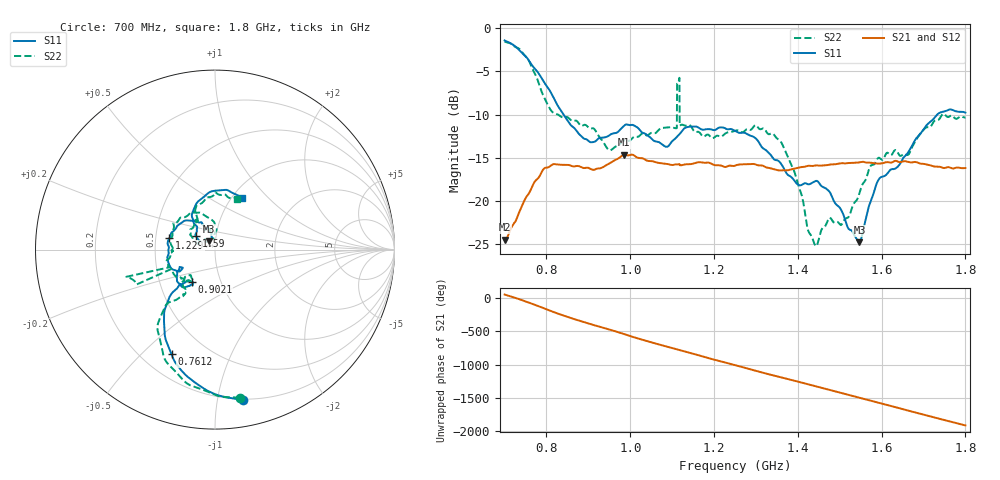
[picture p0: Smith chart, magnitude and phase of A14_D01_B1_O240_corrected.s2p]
! Created with skrf 1.9.0 (http://scikit-rf.org).
# Hz S RI R 50.0
!freq ReS11 ImS11 ReS21 ImS21 ReS12 ImS12 ReS22 ImS22
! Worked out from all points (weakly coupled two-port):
!   1601 points, 700 MHz to 1.8 GHz, reference 50 ohm
!   highest |S21| = -14.64 dB at 985.3 MHz (marker M1); lowest = -24.5 dB at 700.7 MHz (marker M2)
!   lowest |S11| = -24.8 dB at 1.547 GHz (marker M3), VSWR 1.12, Z = 46.5 + j4.27 ohm
!   |S11| at or under -10 dB: 840.6 MHz to 1.732 GHz (891.8 MHz wide, 69.3 % of centre)
!   |S22| runs from -25.2 to -1.5 dB; largest |S21 - S12| = 0.0038
!   S11 on the Smith chart (normalised r, x): 700 MHz: 0.20, -1.19; 761.2 MHz: 0.32, -0.62; 902.1 MHz: 0.73, -0.27; 1.229 GHz: 0.59, +0.08; 1.59 GHz: 0.80, +0.12; 1.8 GHz: 1.12, +0.72
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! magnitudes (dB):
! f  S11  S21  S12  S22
! 700 MHz  -1.4  -24.5  -24.3  -1.5
! 700.7 MHz  -1.4  -24.5  -24.2  -1.6
! 761.2 MHz  -4.0  -18.8  -18.7  -4.1
! 812.1 MHz  -7.6  -15.8  -15.8  -9.6
! 883.6 MHz  -12.5  -16.1  -16.0  -11.3
! 902.1 MHz  -13.1  -16.2  -16.2  -11.6
! 949.6 MHz  -12.4  -15.7  -15.7  -14.1
! 985.3 MHz  -11.3  -14.6  -14.7  -13.0
! 1.067 GHz  -13.2  -15.6  -15.5  -11.8
! 1.106 GHz  -12.9  -15.8  -15.8  -11.6
! 1.117 GHz  -12.3  -15.7  -15.7  -5.7
! 1.123 GHz  -11.9  -15.9  -15.8  -11.2
! 1.229 GHz  -11.6  -16.1  -16.0  -12.1
! 1.25 GHz  -11.9  -15.9  -15.8  -11.9
! 1.359 GHz  -15.7  -16.5  -16.5  -13.1
! 1.434 GHz  -17.9  -16.0  -15.9  -24.2
! 1.506 GHz  -21.3  -15.6  -15.6  -22.7
! 1.547 GHz  -24.8  -15.5  -15.5  -19.1
! 1.59 GHz  -17.8  -15.7  -15.7  -15.1
! 1.617 GHz  -16.6  -15.5  -15.5  -14.5
! 1.735 GHz  -9.9  -16.0  -16.1  -10.6
! 1.8 GHz  -9.8  -16.2  -16.2  -10.3
